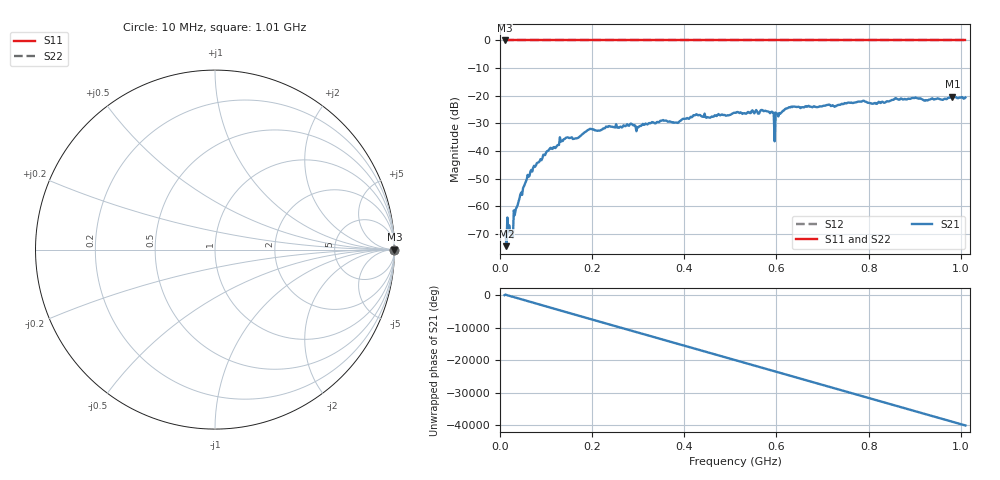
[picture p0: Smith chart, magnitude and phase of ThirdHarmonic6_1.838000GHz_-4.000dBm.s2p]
! 8/16/2025 10:15:02 PM
! C:\ANRITSUVNA\TEMP\TEMP.S2P
! CHANNEL.1
! TR.MEASUREMENT
! RAW.DATA
! RF.CORRECTION.OFF
! AVERAGING.OFF
! IF.BANDWIDTH: 5KHZ
! SWEEPTYPE:  FREQ.SWEEP(Linear)
! Reference Plane Port Info
! PORT:  PORT1  PORT2
! DISTANCE:  0  m  0  m
! TIME:  0  s  0  s
! PHASE.OFFSET:  0  deg.  0  deg.
! LOSS:  0  dB  0  dB
! REF.LOSS:  0  dB  0  dB
! REF.FREQ:  0  Hz  0  Hz
! Power Info
! POWER:  -20  dBm  -20  dBm
! EFF.POWER:  -20  dBm  -20  dBm
! SOURCE.ATTEN:  0  dB  0  dB
! TEST.ATTEN:  0  dB  0  dB
# GHZ S RI R 50.0
! FREQ.GHZ  S11RE  S11IM  S21RE  S21IM  S12RE  S12IM  S22RE  S22IM
!; PortSelection: Port_12
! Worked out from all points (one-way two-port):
!   501 points, 10 MHz to 1.01 GHz, reference 50 ohm
!   highest |S21| = -20.35 dB at 982 MHz (marker M1); lowest = -74.4 dB at 14 MHz (marker M2)
!   lowest |S11| = 0.0 dB at 10 MHz (marker M3)
!   |S11| at or under -10 dB: nowhere
!   |S22| runs from 0.0 to 0.0 dB; largest |S21 - S12| = 1.1
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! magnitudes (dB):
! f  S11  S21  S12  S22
! 10 MHz  0.0  -70.2  0.0  0.0
! 14 MHz  0.0  -74.4  0.0  0.0
! 20 MHz  0.0  -66.8  0.0  0.0
! 24 MHz  0.0  -69.1  0.0  0.0
! 34 MHz  0.0  -61.1  0.0  0.0
! 56 MHz  0.0  -51.2  0.0  0.0
! 70 MHz  0.0  -47.4  0.0  0.0
! 134 MHz  0.0  -36.3  0.0  0.0
! 178 MHz  0.0  -34.0  0.0  0.0
! 196 MHz  0.0  -31.9  0.0  0.0
! 344 MHz  0.0  -29.6  0.0  0.0
! 510 MHz  0.0  -26.1  0.0  0.0
! 572 MHz  0.0  -25.5  0.0  0.0
! 590 MHz  0.0  -25.7  0.0  0.0
! 592 MHz  0.0  -26.1  0.0  0.0
! 600 MHz  0.0  -26.5  0.0  0.0
! 602 MHz  0.0  -26.4  0.0  0.0
! 624 MHz  0.0  -24.5  0.0  0.0
! 678 MHz  0.0  -24.1  0.0  0.0
! 844 MHz  0.0  -22.0  0.0  0.0
! 982 MHz  0.0  -20.3  0.0  0.0
! 1.01 GHz  0.0  -20.6  0.0  0.0
